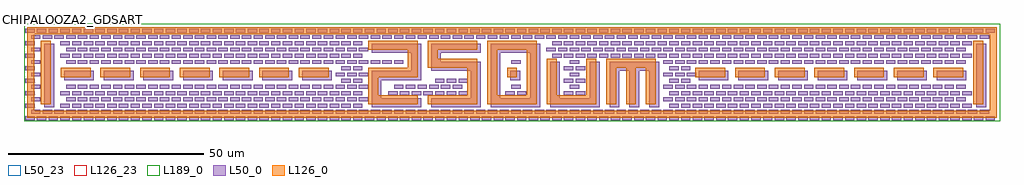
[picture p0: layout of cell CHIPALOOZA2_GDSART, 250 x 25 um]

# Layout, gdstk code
import gdstk
lib = gdstk.Library(unit=1e-6, precision=1e-09)
def R(c, l, rs):  # rectangles x0, y0, x1, y1
    for r in rs: c.add(gdstk.rectangle(r[:2], r[2:], *l))
def A(c, l, x, y, w, h, nx, ny, dx, dy):  # array of equal rectangles
    R(c, l, [(x+i*dx, y+j*dy, x+i*dx+w, y+j*dy+h) for i in range(nx) for j in range(ny)])
def P(c, l, *ps):  # polygons
    for p in ps: c.add(gdstk.Polygon(p, *l))
L50_0 = (50, 0)
L50_23 = (50, 23)
L126_0 = (126, 0)
L126_23 = (126, 23)
L189_0 = (189, 0)

chipalooza2_gdsart = lib.new_cell('CHIPALOOZA2_GDSART')
A(chipalooza2_gdsart, L50_0, 0.3, 0.3, 2.4, 1, 83, 2, 3, 22.4)
A(chipalooza2_gdsart, L50_0, 1.8, 1.9, 2.4, 1, 82, 2, 3, 19.2)
A(chipalooza2_gdsart, L50_0, 0.3, 3.5, 2.4, 1, 1, 6, 0, 3.2)
A(chipalooza2_gdsart, L50_0, 9.3, 3.5, 2.4, 1, 26, 2, 3, 3.2)
A(chipalooza2_gdsart, L50_0, 165.3, 3.5, 2.4, 1, 26, 2, 3, 3.2)
A(chipalooza2_gdsart, L50_0, 1.8, 5.1, 2.4, 1, 1, 5, 0, 3.2)
A(chipalooza2_gdsart, L50_0, 10.8, 5.1, 2.4, 1, 26, 2, 3, 3.2)
A(chipalooza2_gdsart, L50_0, 163.8, 5.1, 2.4, 1, 26, 2, 3, 3.2)
A(chipalooza2_gdsart, L50_0, 93.3, 6.7, 2.4, 1, 7, 1, 3, 0)
A(chipalooza2_gdsart, L50_0, 138.3, 6.7, 2.4, 1, 1, 3, 0, 3.2)
A(chipalooza2_gdsart, L50_0, 141.3, 6.7, 2.4, 1, 1, 3, 0, 3.2)
A(chipalooza2_gdsart, L50_0, 94.8, 8.3, 2.4, 1, 6, 1, 3, 0)
A(chipalooza2_gdsart, L50_0, 139.8, 8.3, 2.4, 1, 1, 3, 0, 3.2)
A(chipalooza2_gdsart, L50_0, 105.3, 9.9, 2.4, 1, 3, 1, 3, 0)
A(chipalooza2_gdsart, L50_0, 10.275, 10.565, 7.62, 2.32, 7, 1, 10.16, 0)
A(chipalooza2_gdsart, L50_0, 172.835, 10.565, 7.62, 2.32, 7, 1, 10.16, 0)
A(chipalooza2_gdsart, L50_0, 79.8, 11.5, 2.4, 1, 3, 1, 3, 0)
A(chipalooza2_gdsart, L50_0, 163.8, 11.5, 2.4, 1, 3, 1, 3, 0)
A(chipalooza2_gdsart, L50_0, 10.8, 14.7, 2.4, 1, 29, 1, 3, 0)
A(chipalooza2_gdsart, L50_0, 163.8, 14.7, 2.4, 1, 26, 1, 3, 0)
A(chipalooza2_gdsart, L50_0, 9.3, 16.3, 2.4, 1, 26, 2, 3, 3.2)
A(chipalooza2_gdsart, L50_0, 135.3, 16.3, 2.4, 1, 36, 2, 3, 3.2)
A(chipalooza2_gdsart, L50_0, 10.8, 17.9, 2.4, 1, 26, 1, 3, 0)
A(chipalooza2_gdsart, L50_0, 133.8, 17.9, 2.4, 1, 36, 1, 3, 0)
R(chipalooza2_gdsart, L50_0, [(5.195,3.605,7.735,19.845), (243.955,3.605,246.495,19.845), (123.3,6.7,125.7,7.7), (126.3,6.7,128.7,7.7), (124.8,8.3,127.2,9.3), (81.3,9.9,83.7,10.9), (84.3,9.9,86.7,10.9), (165.3,9.9,167.7,10.9), (168.3,9.9,170.7,10.9), (124.575,10.565,127.115,12.885), (81.3,13.1,83.7,14.1), (84.3,13.1,86.7,14.1), (165.3,13.1,167.7,14.1), (168.3,13.1,170.7,14.1), (124.8,14.7,127.2,15.7)])
P(chipalooza2_gdsart, L50_0, [(119.495,3.605),(119.495,17.525),(122.035,17.525),(122.035,5.925),(129.655,5.925),(129.655,17.525),(119.495,17.525),(119.495,19.845),(132.195,19.845),(132.195,3.605)],
  [(134.735,3.605),(134.735,15.205),(137.275,15.205),(137.275,5.925),(144.895,5.925),(144.895,15.205),(147.435,15.205),(147.435,3.605)],
  [(149.975,3.605),(149.975,15.205),(162.675,15.205),(162.675,3.605),(160.135,3.605),(160.135,12.885),(157.595,12.885),(157.595,3.605),(155.055,3.605),(155.055,12.885),(152.515,12.885),(152.515,3.605)],
  [(89.015,3.605),(89.015,12.885),(99.175,12.885),(99.175,17.525),(89.015,17.525),(89.015,19.845),(101.715,19.845),(101.715,10.565),(91.555,10.565),(91.555,5.925),(101.715,5.925),(101.715,3.605)],
  [(104.255,3.605),(104.255,5.925),(114.415,5.925),(114.415,12.885),(104.255,12.885),(104.255,19.845),(116.955,19.845),(116.955,17.525),(106.795,17.525),(106.795,15.205),(116.955,15.205),(116.955,3.605)])
R(chipalooza2_gdsart, L50_23, [(0,0,250,25)])
A(chipalooza2_gdsart, L126_0, 9.43, 11.34, 7.62, 2.32, 7, 1, 10.16, 0)
A(chipalooza2_gdsart, L126_0, 171.99, 11.34, 7.62, 2.32, 7, 1, 10.16, 0)
R(chipalooza2_gdsart, L126_0, [(4.35,4.38,6.89,20.62), (243.11,4.38,245.65,20.62), (123.73,11.34,126.27,13.66)])
P(chipalooza2_gdsart, L126_0, [(133.89,4.38),(133.89,15.98),(136.43,15.98),(136.43,6.7),(144.05,6.7),(144.05,15.98),(146.59,15.98),(146.59,4.38)],
  [(149.13,4.38),(149.13,15.98),(161.83,15.98),(161.83,4.38),(159.29,4.38),(159.29,13.66),(156.75,13.66),(156.75,4.38),(154.21,4.38),(154.21,13.66),(151.67,13.66),(151.67,4.38)],
  [(88.17,4.38),(88.17,13.66),(98.33,13.66),(98.33,18.3),(88.17,18.3),(88.17,20.62),(100.87,20.62),(100.87,11.34),(90.71,11.34),(90.71,6.7),(100.87,6.7),(100.87,4.38)],
  [(103.41,4.38),(103.41,6.7),(113.57,6.7),(113.57,13.66),(103.41,13.66),(103.41,20.62),(116.11,20.62),(116.11,18.3),(105.95,18.3),(105.95,15.98),(116.11,15.98),(116.11,4.38)],
  [(118.65,4.38),(118.65,18.3),(121.19,18.3),(121.19,6.7),(128.81,6.7),(128.81,18.3),(118.65,18.3),(118.65,20.62),(131.35,20.62),(131.35,4.38)],
  [(0.85,0.85),(0.85,22.35),(2.65,22.35),(2.65,2.65),(247.35,2.65),(247.35,22.35),(0.85,22.35),(0.85,24.15),(249.15,24.15),(249.15,0.85)])
R(chipalooza2_gdsart, L126_23, [(0,0,250,25)])
R(chipalooza2_gdsart, L189_0, [(0,0,250,25)])
chipalooza2_gdsart.add(gdstk.Label('CHIPALOOZA2_GDSART', (1,26), layer=63, texttype=0))

lib.write_gds('CHIPALOOZA2_GDSART.gds')
